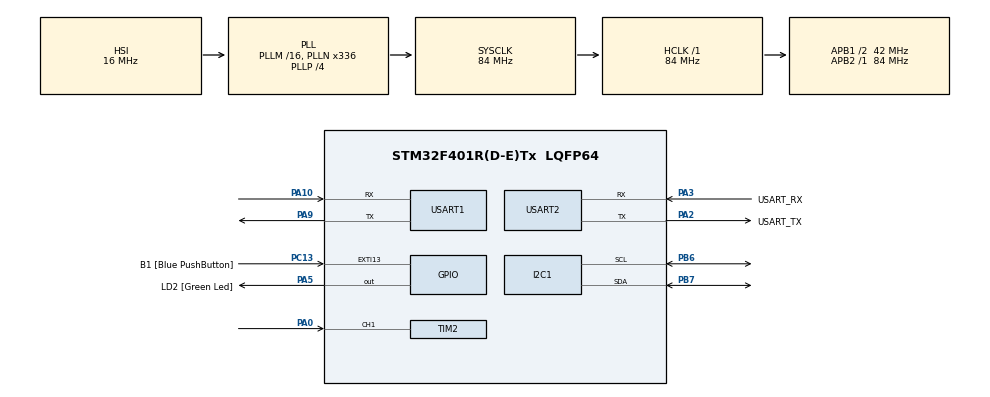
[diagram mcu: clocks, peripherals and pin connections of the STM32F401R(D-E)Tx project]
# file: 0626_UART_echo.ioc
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Mcu.Family=STM32F4
Mcu.Name=STM32F401R(D-E)Tx
Mcu.Package=LQFP64
NVIC.PriorityGroup=NVIC_PRIORITYGROUP_4
NVIC.TIM2_IRQn=true\:0\:0\:false\:false\:true\:true\:true\:true
NVIC.USART1_IRQn=true\:0\:0\:false\:false\:true\:true\:true\:true
NVIC.USART2_IRQn=true\:0\:0\:false\:false\:true\:true\:true\:true
PA0-WKUP.Signal=S_TIM2_CH1_ETR
PA10.Mode=Asynchronous
PA10.Signal=USART1_RX
PA13.GPIO_Label=TMS
PA13.Mode=Trace_Asynchronous_SW
PA13.Signal=SYS_JTMS-SWDIO
PA14.GPIO_Label=TCK
PA14.Mode=Trace_Asynchronous_SW
PA14.Signal=SYS_JTCK-SWCLK
PA2.GPIO_Label=USART_TX
PA2.GPIO_Mode=GPIO_MODE_AF_PP
PA2.GPIO_PuPd=GPIO_NOPULL
PA2.GPIO_Speed=GPIO_SPEED_FREQ_LOW
PA2.Mode=Asynchronous
PA2.Signal=USART2_TX
PA3.GPIO_Label=USART_RX
PA3.GPIO_Mode=GPIO_MODE_AF_PP
PA3.GPIO_PuPd=GPIO_NOPULL
PA3.GPIO_Speed=GPIO_SPEED_FREQ_LOW
PA3.Mode=Asynchronous
PA3.Signal=USART2_RX
PA5.GPIO_Label=LD2 [Green Led]
PA5.GPIO_Mode=GPIO_MODE_OUTPUT_PP
PA5.GPIO_PuPd=GPIO_NOPULL
PA5.GPIO_Speed=GPIO_SPEED_FREQ_LOW
PA5.Signal=GPIO_Output
PA9.Mode=Asynchronous
PA9.Signal=USART1_TX
PB3.GPIO_Label=SWO
PB3.Mode=Trace_Asynchronous_SW
PB3.Signal=SYS_JTDO-SWO
PB6.Mode=I2C
PB6.Signal=I2C1_SCL
PB7.Mode=I2C
PB7.Signal=I2C1_SDA
PC13-ANTI_TAMP.GPIO_Label=B1 [Blue PushButton]
PC13-ANTI_TAMP.GPIO_ModeDefaultEXTI=GPIO_MODE_IT_FALLING
PC13-ANTI_TAMP.GPIO_PuPd=GPIO_NOPULL
PC13-ANTI_TAMP.Signal=GPXTI13
PC14-OSC32_IN.Mode=LSE-External-Oscillator
PC14-OSC32_IN.Signal=RCC_OSC32_IN
PC15-OSC32_OUT.Mode=LSE-External-Oscillator
PC15-OSC32_OUT.Signal=RCC_OSC32_OUT
PH0\ -\ OSC_IN.Mode=HSE-External-Clock-Source
PH0\ -\ OSC_IN.Signal=RCC_OSC_IN
PH1\ -\ OSC_OUT.Mode=HSE-External-Clock-Source
PH1\ -\ OSC_OUT.Signal=RCC_OSC_OUT
ProjectManager.HeapSize=0x200
ProjectManager.StackSize=0x400
ProjectManager.TargetToolchain=STM32CubeIDE
RCC.48MHZClocksFreq_Value=48000000
RCC.AHBFreq_Value=84000000
RCC.APB1CLKDivider=RCC_HCLK_DIV2
RCC.APB1Freq_Value=42000000
RCC.APB1TimFreq_Value=84000000
RCC.APB2Freq_Value=84000000
RCC.APB2TimFreq_Value=84000000
RCC.CortexFreq_Value=84000000
RCC.HCLKFreq_Value=84000000
RCC.HSE_VALUE=8000000
RCC.HSI_VALUE=16000000
RCC.PLLN=336
RCC.PLLP=RCC_PLLP_DIV4
RCC.PLLQ=7
RCC.SYSCLKFreq_VALUE=84000000
RCC.SYSCLKSource=RCC_SYSCLKSOURCE_PLLCLK
RCC.VCOOutputFreq_Value=336000000
SH.S_TIM2_CH1_ETR.0=TIM2_CH1,Input_Capture1_from_TI1
TIM2.Channel-Input_Capture1_from_TI1=TIM_CHANNEL_1
TIM2.Prescaler=83
USART1.VirtualMode=VM_ASYNC
USART2.VirtualMode=VM_ASYNC
board=NUCLEO-F401RE

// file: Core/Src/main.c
/* USER CODE BEGIN Header */
/**
  ******************************************************************************
  * @file           : main.c
  * @brief          : MH-Z19C CO2 Sensor (PWM 방식) 측정 코드
  * @details        : TIM2 채널1 (PA0) 입력 캡처로 PWM 측정, UART 출력
  ******************************************************************************
  */
/* USER CODE END Header */
#include "main.h"
#include "i2c.h"
#include "tim.h"
#include "usart.h"
#include "gpio.h"
#include <stdio.h>
#include <math.h>
#include <stdbool.h>
#include "stm32f4xx_hal_pwr_ex.h"

/* USER CODE BEGIN PM */
#define AVG_CNT     10
#define PCF8591_ADDR (0x48 << 1)

#define CAL_A       1.25f
#define CAL_B       0.015f
#define DEDT        0.005f
#define THER_INIT   25.0f
#define DHT11_PORT GPIOA
#define DHT11_PIN  GPIO_PIN_1
/* USER CODE END PM */

/* USER CODE BEGIN PV */
static uint8_t rx_byte;                // UART 수신 바이트 저장용
static uint8_t rx_state = 0;
/* Buffers for moving average */
static float emf_buf[AVG_CNT];
static float ther_buf[AVG_CNT];
static uint8_t avg_idx = 0;
static bool avg_filled = false;

/*디지털 온도센서 */
static void DHT11_Start(void);
static uint8_t DHT11_CheckResponse(void);
static uint8_t DHT11_ReadByte(void);
static float DHT11_ReadTemp(void);

/* PWM CO2 (MH-Z19C) */
volatile uint32_t ic_rising = 0;
volatile uint32_t ic_falling = 0;
volatile uint8_t  edge_flag = 0; // 0: rising 대기, 1: falling 대기
volatile uint32_t high_time = 0;
volatile uint32_t period = 1004; // 기본 주기(ms)

/* USER CODE END PV */

void SystemClock_Config(void);
static uint8_t PCF8591_ReadChannel(I2C_HandleTypeDef *hi2c, uint8_t ch);
static float adc8_to_mv(uint8_t v);
static float emf_mv_to_emf(float mv);
static float ntc_calc_celsius(uint8_t ther_raw);
static void push_avg(float emf_mv, float temp_c, float *emf_avg, float *temp_avg);
static float calc_ppm(float emf_avg, float temp_avg);

/* USER CODE BEGIN 0 */
static uint8_t PCF8591_ReadChannel(I2C_HandleTypeDef *hi2c, uint8_t ch) {
    uint8_t cmd = 0x40 | (ch & 0x03);
    uint8_t dummy, val;
    HAL_I2C_Master_Transmit(hi2c, PCF8591_ADDR, &cmd, 1, HAL_MAX_DELAY);
    HAL_Delay(2);
    HAL_I2C_Master_Receive(hi2c, PCF8591_ADDR, &dummy, 1, HAL_MAX_DELAY);
    HAL_I2C_Master_Receive(hi2c, PCF8591_ADDR, &val,   1, HAL_MAX_DELAY);
    return val;
}

/* UART 수신 인터럽트 콜백 */
void HAL_UART_RxCpltCallback(UART_HandleTypeDef *huart) {
    if (huart->Instance == USART1) {
    	 printf("받은 명령: %c\n", rx_byte);

        HAL_GPIO_WritePin(GPIOA, GPIO_PIN_6, GPIO_PIN_RESET); // LED OFF

        if (rx_state == 0 && rx_byte == 'L') {
            rx_state = 1;
        } else if (rx_state == 1) {
            if (rx_byte == '1') {
                printf("LED_ON\n");
                HAL_GPIO_WritePin(GPIOA, GPIO_PIN_6, GPIO_PIN_SET); // LED ON
            } else if (rx_byte == '0') {
                printf("LED_OFF\n");
                HAL_GPIO_WritePin(GPIOA, GPIO_PIN_6, GPIO_PIN_RESET); // LED OFF
            }
            rx_state = 0;
        } else {
            rx_state = 0;
        }

        HAL_UART_Receive_IT(&huart1, &rx_byte, 1);  // 다음 수신 예약
        printf("Receive_IT called!");
    }

}

static inline float adc8_to_mv(uint8_t v) {
    return (v / 255.0f) * 5000.0f;
}
static inline float emf_mv_to_emf(float mv) {
    return mv / 6.0f;
}
static float ntc_calc_celsius(uint8_t ther_raw) {
    const float C1 = 0.00230088f, C2 = 0.000224f, C3 = 0.000000021133f;
    const float R0 = 15.0f;
    float v = (float)ther_raw;
    float r = (R0 * v) / (255.0f - v);
    float t = 1.0f / (C1 + C2 * log(r) + C3 * pow(log(r), 3)) - 273.15f;
    return t;
}
static void push_avg(float emf_mv, float temp_c, float *emf_avg, float *temp_avg) {
    emf_buf[avg_idx] = emf_mv;
    ther_buf[avg_idx] = temp_c;
    avg_idx = (avg_idx + 1) % AVG_CNT;
    if (avg_idx == 0) avg_filled = true;
    uint8_t n = avg_filled ? AVG_CNT : avg_idx;
    float e_sum = 0, t_sum = 0;
    for (uint8_t i = 0; i < n; ++i) {
        e_sum += emf_buf[i];
        t_sum += ther_buf[i];
    }
    *emf_avg = e_sum / n;
    *temp_avg = t_sum / n;
}
float calc_ppm(float emf_avg, float temp_avg) {
    float cal = CAL_A - (emf_avg + DEDT * (THER_INIT - temp_avg));
    return powf(10.0f, cal / CAL_B);
}
/* USER CODE END 0 */

int main(void)
{

  /* MCU Configuration--------------------------------------------------------*/

  /* Reset of all peripherals, Initializes the Flash interface and the Systick. */
  HAL_Init();

  /* Configure the system clock */
  SystemClock_Config();

  /* USER CODE BEGIN 2 */
  /* Initialize all configured peripherals */
  MX_GPIO_Init();
  MX_USART1_UART_Init();
  MX_I2C1_Init();
  MX_USART2_UART_Init();
  MX_TIM2_Init();
  HAL_TIM_IC_Start_IT(&htim2, TIM_CHANNEL_1);

  CoreDebug->DEMCR |= CoreDebug_DEMCR_TRCENA_Msk; /*디지털 온도 센서*/
  DWT->CTRL |= DWT_CTRL_CYCCNTENA_Msk;

  char buf[100];
  // PA5 LED 수동 초기화
   printf("USART1 State: %d\r\n", huart1.gState);
       __HAL_RCC_GPIOA_CLK_ENABLE();
       GPIO_InitTypeDef GPIO_InitStruct = {0};
       GPIO_InitStruct.Pin = GPIO_PIN_6;
       GPIO_InitStruct.Mode = GPIO_MODE_OUTPUT_PP;
       GPIO_InitStruct.Pull = GPIO_NOPULL;
       GPIO_InitStruct.Speed = GPIO_SPEED_FREQ_LOW;
       HAL_GPIO_Init(GPIOA, &GPIO_InitStruct);
       HAL_GPIO_WritePin(GPIOA, GPIO_PIN_6, GPIO_PIN_RESET);

       // UART 인터럽트 수신 시작
       HAL_StatusTypeDef result = HAL_UART_Receive_IT(&huart1, &rx_byte, 1);
       if (result != HAL_OK) {
           printf("❌ Receive_IT 등록 실패! result = %d\r\n", result);  // 1 = BUSY, 2 = ERROR
       } else {
           printf("✅ Receive_IT 등록 성공!\r\n");
       }

       // NVIC 설정 (중요!)
       HAL_NVIC_SetPriority(USART1_IRQn, 0, 0);
       HAL_NVIC_EnableIRQ(USART1_IRQn);
       HAL_GPIO_WritePin(GPIOA, GPIO_PIN_6, GPIO_PIN_SET);
       HAL_Delay(1000);
       HAL_GPIO_WritePin(GPIOA, GPIO_PIN_6, GPIO_PIN_RESET);
  /* USER CODE END 2 */

  /* Infinite loop */
  /* USER CODE BEGIN WHILE */
  while (1)
  {
	  if (HAL_I2C_IsDeviceReady(&hi2c1, PCF8591_ADDR, 3, 100) != HAL_OK) {
			  HAL_UART_Transmit(&huart2, (uint8_t *)"I2C FAIL\r\n", 10, HAL_MAX_DELAY);
			  HAL_Delay(500);
			  continue;
	 	  }
	  // --- I2C CO₂, 온도 ---
	  float co2_pwm = 0;
	  if (high_time > 0 && period > 4000) {
	              co2_pwm = 2000.0f * ((float)high_time - 2000.0f) / ((float)period - 4000.0f);
	              high_time = 0;
	          }

	          uint8_t ther_raw = PCF8591_ReadChannel(&hi2c1, 1);
	          uint8_t emf_raw = PCF8591_ReadChannel(&hi2c1, 2);

	          float emf_mv = emf_mv_to_emf(adc8_to_mv(emf_raw));
	          float temp_c = ntc_calc_celsius(ther_raw);
	          float emf_avg, temp_avg;
	          push_avg(emf_mv, temp_c, &emf_avg, &temp_avg);
	          float co2_analog = calc_ppm(emf_avg, temp_avg);
	          float temp_dht = DHT11_ReadTemp();

	          float moist_percent = (750 - emf_avg) * 100 / 350;
	          if (moist_percent > 100) moist_percent = 100;
	          if (moist_percent < 0)   moist_percent = 0;

	          int len = snprintf(buf, sizeof(buf), "%.0f|%.1f|%.1f\r\n", co2_pwm, moist_percent, temp_dht);
	          HAL_UART_Transmit(&huart1, (uint8_t *)buf, len, HAL_MAX_DELAY);
	          HAL_Delay(1000);
  }

}
	/* USER CODE END WHILE */

void SystemClock_Config(void)
{
  RCC_OscInitTypeDef RCC_OscInitStruct = {0};
  RCC_ClkInitTypeDef RCC_ClkInitStruct = {0};

  /** Configure the main internal regulator output voltage
  */
  __HAL_RCC_PWR_CLK_ENABLE();
  __HAL_PWR_VOLTAGESCALING_CONFIG(PWR_REGULATOR_VOLTAGE_SCALE2);

  /** Initializes the RCC Oscillators according to the specified parameters
  * in the RCC_OscInitTypeDef structure.
  */
  RCC_OscInitStruct.OscillatorType = RCC_OSCILLATORTYPE_HSI;
  RCC_OscInitStruct.HSIState = RCC_HSI_ON;
  RCC_OscInitStruct.HSICalibrationValue = RCC_HSICALIBRATION_DEFAULT;
  RCC_OscInitStruct.PLL.PLLState = RCC_PLL_ON;
  RCC_OscInitStruct.PLL.PLLSource = RCC_PLLSOURCE_HSI;
  RCC_OscInitStruct.PLL.PLLM = 16;
  RCC_OscInitStruct.PLL.PLLN = 336;
  RCC_OscInitStruct.PLL.PLLP = RCC_PLLP_DIV4;
  RCC_OscInitStruct.PLL.PLLQ = 7;
  if (HAL_RCC_OscConfig(&RCC_OscInitStruct) != HAL_OK)
  {
    Error_Handler();
  }

  /** Initializes the CPU, AHB and APB buses clocks
  */
  RCC_ClkInitStruct.ClockType = RCC_CLOCKTYPE_HCLK|RCC_CLOCKTYPE_SYSCLK
                              |RCC_CLOCKTYPE_PCLK1|RCC_CLOCKTYPE_PCLK2;
  RCC_ClkInitStruct.SYSCLKSource = RCC_SYSCLKSOURCE_PLLCLK;
  RCC_ClkInitStruct.AHBCLKDivider = RCC_SYSCLK_DIV1;
  RCC_ClkInitStruct.APB1CLKDivider = RCC_HCLK_DIV2;
  RCC_ClkInitStruct.APB2CLKDivider = RCC_HCLK_DIV1;

  if (HAL_RCC_ClockConfig(&RCC_ClkInitStruct, FLASH_LATENCY_2) != HAL_OK)
  {
    Error_Handler();
  }
}

/* USER CODE BEGIN 4 */
void HAL_TIM_IC_CaptureCallback(TIM_HandleTypeDef *htim)
{
  if (htim->Channel == HAL_TIM_ACTIVE_CHANNEL_1)
  {
    if (edge_flag == 0) // rising edge
    {
      ic_rising = HAL_TIM_ReadCapturedValue(htim, TIM_CHANNEL_1);
      __HAL_TIM_SET_CAPTUREPOLARITY(htim, TIM_CHANNEL_1, TIM_INPUTCHANNELPOLARITY_FALLING);
      edge_flag = 1;
    }
    else // falling edge
    {
      ic_falling = HAL_TIM_ReadCapturedValue(htim, TIM_CHANNEL_1);
      high_time = (ic_falling >= ic_rising) ? (ic_falling - ic_rising) : ((htim->Instance->ARR - ic_rising) + ic_falling);

      __HAL_TIM_SET_CAPTUREPOLARITY(htim, TIM_CHANNEL_1, TIM_INPUTCHANNELPOLARITY_RISING);
      edge_flag = 0;

      static uint32_t last_rising = 0;
      period = (ic_rising >= last_rising) ? (ic_rising - last_rising) : ((htim->Instance->ARR - last_rising) + ic_rising);
      last_rising = ic_rising;
      //printf("rise: %lu, fall: %lu, high_time: %lu, period: %lu\r\n", ic_rising, ic_falling, high_time, period);

    }
  }
}

int __io_putchar(int ch) {
    HAL_UART_Transmit(&huart1, (uint8_t*)&ch, 1, HAL_MAX_DELAY);
    return ch;
}

/*디지털 온도센서*/
void delay_us(uint16_t us) {
    uint32_t start = DWT->CYCCNT;
    uint32_t cycles = us * (HAL_RCC_GetHCLKFreq() / 1000000);
    while ((DWT->CYCCNT - start) < cycles);
}

void DHT11_Start(void) {
    GPIO_InitTypeDef GPIO_InitStruct = {0};

    // Output
    GPIO_InitStruct.Pin = DHT11_PIN;
    GPIO_InitStruct.Mode = GPIO_MODE_OUTPUT_PP;
    GPIO_InitStruct.Speed = GPIO_SPEED_FREQ_LOW;
    HAL_GPIO_Init(DHT11_PORT, &GPIO_InitStruct);

    HAL_GPIO_WritePin(DHT11_PORT, DHT11_PIN, GPIO_PIN_RESET);
    HAL_Delay(20);  // at least 18ms
    HAL_GPIO_WritePin(DHT11_PORT, DHT11_PIN, GPIO_PIN_SET);
    delay_us(30);   // 20~40us

    // Input
    GPIO_InitStruct.Mode = GPIO_MODE_INPUT;
    HAL_GPIO_Init(DHT11_PORT, &GPIO_InitStruct);
}

uint8_t DHT11_CheckResponse(void) {
    delay_us(40);
    if (!HAL_GPIO_ReadPin(DHT11_PORT, DHT11_PIN)) {
        delay_us(80);
        if (HAL_GPIO_ReadPin(DHT11_PORT, DHT11_PIN)) {
            delay_us(80);
            return 1;
        }
    }
    return 0;
}

uint8_t DHT11_ReadByte(void) {
    uint8_t value = 0;
    for (int i = 0; i < 8; i++) {
        while (!HAL_GPIO_ReadPin(DHT11_PORT, DHT11_PIN)); // LOW wait
        delay_us(40);
        if (HAL_GPIO_ReadPin(DHT11_PORT, DHT11_PIN))
            value |= (1 << (7 - i));
        while (HAL_GPIO_ReadPin(DHT11_PORT, DHT11_PIN));  // HIGH wait
    }
    return value;
}

float DHT11_ReadTemp(void) {
    DHT11_Start();
    if (DHT11_CheckResponse()) {
        DHT11_ReadByte(); // 습도 정수
        DHT11_ReadByte(); // 습도 소수
        uint8_t temp_int = DHT11_ReadByte();
        uint8_t temp_dec = DHT11_ReadByte();  // ← 여기서 소수점 읽기
        DHT11_ReadByte(); // checksum
        return (float)temp_int + (float)temp_dec * 0.1f;
    }
    return -100.0f;
}

/* USER CODE END 4 */

void Error_Handler(void)
{
  __disable_irq();
  while (1)
  {
  }
}
